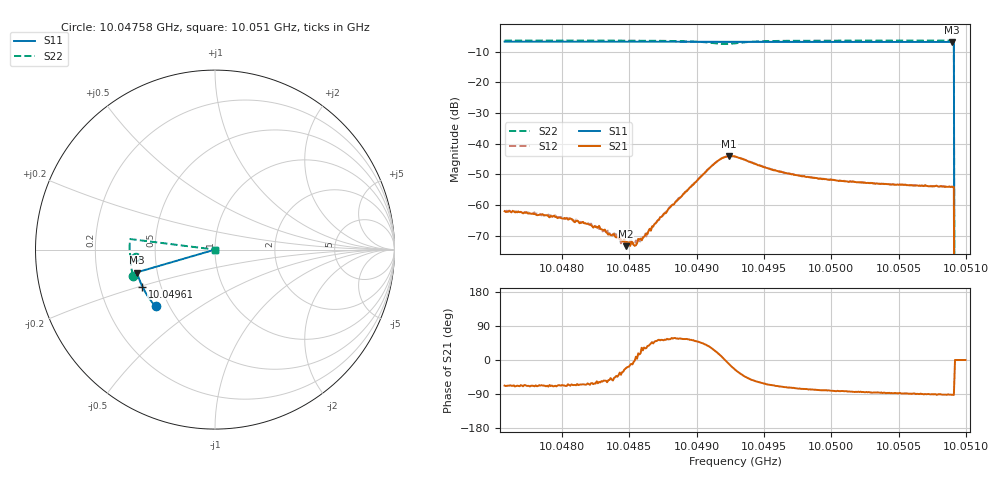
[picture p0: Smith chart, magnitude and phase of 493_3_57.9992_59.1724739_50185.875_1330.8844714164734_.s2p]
#  HZ  S  RI  R  50.00
! Rohde & Schwarz Vector Network Analyzer
! Rohde-Schwarz,ZNB20-2Port,1311601062101988,3.16
! Created: UTC 3/21/2024, 1:12:22 AM
! freq[Hz]  re:S11  im:S11  re:S21  im:S21  re:S12  im:S12  re:S22  im:S22
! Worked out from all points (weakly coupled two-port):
!   401 points, 10.04758 GHz to 10.051 GHz, reference 50 ohm
!   highest |S21| = -44.10 dB at 10.04924 GHz (marker M1); lowest = -73.4 dB at 10.04847 GHz (marker M2)
!   lowest |S11| = -6.9 dB at 10.05089 GHz (marker M3), VSWR 2.65, Z = 19.2 - j6.16 ohm
!   |S11| at or under -10 dB: 10.05091 GHz to end of sweep
!   |S22| runs from - to -6.4 dB; largest |S21 - S12| = 0.00044
!   S11 on the Smith chart (normalised r, x): 10.04758 GHz: 0.42, -0.34; 10.04961 GHz: 0.39, -0.20; 10.051 GHz: 1.00, +0.00
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1.0047575e10  -0.3308 -0.317  0.000302 -0.000731  0.000351 -0.000692  -0.4561 -0.1454
1.00479e10  -0.3448 -0.3005  0.000223 -0.000616  0.000281 -0.000637  -0.4617 -0.1235
1.0048148e10  -0.3549 -0.2878  0.000224 -0.000467  0.000252 -0.000453  -0.4654 -0.1062
1.00482e10  -0.3569 -0.2852  0.000215 -0.00043  0.000234 -0.000438  -0.4659 -0.1026
1.0048277e10  -0.36 -0.281  0.000244 -0.000386  0.000224 -0.000339  -0.4668 -0.0971
1.0048388e10  -0.3642 -0.2751  0.000227 -0.000245  0.000241 -0.000247  -0.4679 -0.0885
1.0048439e10  -0.3662 -0.2724  0.00021 -0.000169  0.000196 -0.000131  -0.4681 -0.0846
1.0048473e10  -0.3675 -0.2704  0.000196 -8.17e-05  0.000221 -0.000121  -0.4685 -0.0819
1.0048542e10  -0.37 -0.2668  0.000216 -4.61e-06  0.000237 3.9e-05  -0.4689 -0.0765
1.0048576e10  -0.3713 -0.2649  0.000264 6.96e-05  0.000228 8.34e-05  -0.4691 -0.0735
1.004861e10  -0.3725 -0.2629  0.000255 0.000165  0.000259 0.000166  -0.469 -0.0707
1.0048721e10  -0.3766 -0.2569  0.000341 0.000459  0.00035 0.000454  -0.4686 -0.0608
1.0049115e10  -0.3896 -0.2344  0.00375 0.0022  0.00362 0.00245  -0.4357 -0.0231
1.0049183e10  -0.3916 -0.2308  0.00559 0.00101  0.00551 0.00135  -0.4201 -0.0327
1.0049243e10  -0.3933 -0.2275  0.00612 -0.00121  0.0062 -0.000842  -0.4183 -0.051
1.0049286e10  -0.3947 -0.2251  0.00556 -0.00262  0.00573 -0.00229  -0.4259 -0.061
1.004961e10  -0.4046 -0.2063  0.00122 -0.00328  0.00146 -0.00323  -0.4691 -0.0405
1.0049858e10  -0.4116 -0.1915  0.000587 -0.00273  0.000743 -0.00269  -0.4743 -0.0178
1.0050431e10  -0.4252 -0.1564  0.000124 -0.00216  0.000248 -0.00216  -0.4754 0.0257
1.0050893e10  -0.4339 -0.1276  -6.53e-05 -0.00198  3.35e-05 -0.00198  -0.4726 0.0576
1.0050936e10  0 0  0 0  0 0  0 0
1.0050996e10  0 0  0 0  0 0  0 0
